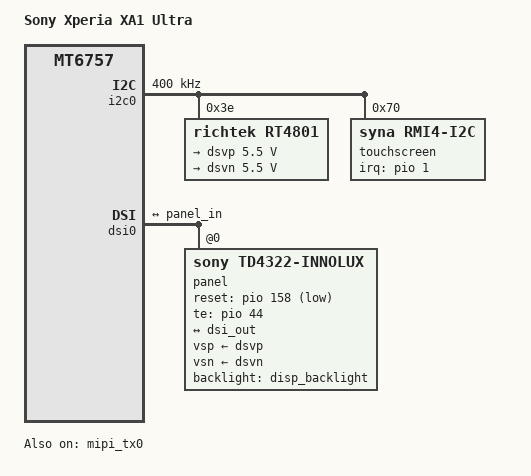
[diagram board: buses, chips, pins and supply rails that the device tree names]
// SPDX-License-Identifier: GPL-2.0-only
/*
 * Copyright (c) 2025 Ben Grisdale <bengris32@protonmail.ch>
 */

/dts-v1/;
#include "mt6757-sony.dtsi"

/ {
	model = "Sony Xperia XA1 Ultra";
	compatible = "sony,xperia-xa1-ultra", "mediatek,mt6757";
	chassis-type = "handset";
};

&i2c0 {
	status = "okay";
	pinctrl-names = "default";
	pinctrl-0 = <&i2c0_pins_default>;
	clock-frequency = <400000>;

	rt4801@3e {
		compatible = "richtek,rt4801";
		reg = <0x3e>;

		dsvp: DSVP {
			regulator-name = "rt4801,dsvp";
			regulator-min-microvolt = <5500000>;
			regulator-max-microvolt = <5500000>;
			regulator-boot-on;
			enable-gpios = <&pio 24 GPIO_ACTIVE_HIGH>;
		};

		dsvn: DSVN {
			regulator-name = "rt4801,dsvn";
			regulator-min-microvolt = <5500000>;
			regulator-max-microvolt = <5500000>;
			regulator-boot-on;
			enable-gpios = <&pio 12 GPIO_ACTIVE_HIGH>;
		};
	};

	touchscreen@70 {
		compatible = "syna,rmi4-i2c";
		reg = <0x70>;
		#address-cells = <1>;
		#size-cells = <0>;
		interrupts-extended = <&pio 1 IRQ_TYPE_EDGE_FALLING>;
		pinctrl-names = "default";
		pinctrl-0 = <&ts_pins>;
		syna,startup-delay-ms = <1000>;
		syna,reset-delay-ms = <220>;

		rmi4-f01@1 {
			reg = <0x1>;
			syna,nosleep-mode = <1>;
		};

		rmi4-f12@12 {
			reg = <0x12>;
			syna,sensor-type = <1>;
		};
	};
};

&dsi0 {
	status = "okay";

	#address-cells = <1>;
	#size-cells = <0>;

	panel: panel@0 {
		compatible = "sony,td4322-innolux";
		reg = <0>;

		backlight = <&disp_backlight>;

		vsp-supply = <&dsvp>;
		vsn-supply = <&dsvn>;

		reset-gpios = <&pio 158 GPIO_ACTIVE_LOW>;
		te-gpios = <&pio 44 GPIO_ACTIVE_HIGH>;

		port {
			panel_in: endpoint {
				remote-endpoint = <&dsi_out>;
			};
		};
	};

	ports {
		#address-cells = <1>;
		#size-cells = <0>;

		port {
			dsi_out: endpoint {
				remote-endpoint = <&panel_in>;
			};
		};
	};
};

&mipi_tx0 {
	status = "okay";
};

&pio {
	i2c0_pins_default: i2c0-pins-default {
		pins-bus {
			pinmux = <PINMUX_GPIO92__FUNC_SDA0>,
				     <PINMUX_GPIO93__FUNC_SCL0>;
			bias-disable;
		};
	};

	ts_pins: touchscreen-pins {
		pins-irq {
			pinmux = <PINMUX_GPIO1__FUNC_GPIO1>;
			bias-pull-up;
			input-enable;
		};

		pins-rst {
			pinmux = <PINMUX_GPIO10__FUNC_GPIO10>;
			output-high;
		};
	};
};
